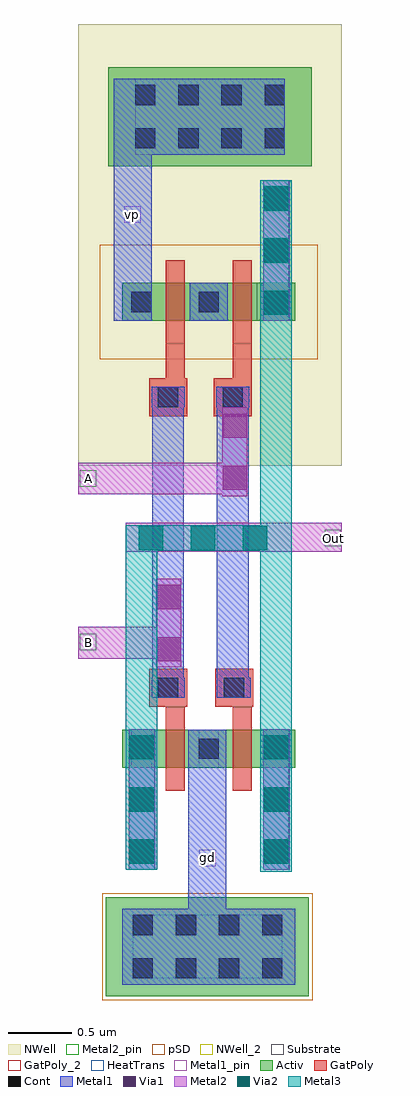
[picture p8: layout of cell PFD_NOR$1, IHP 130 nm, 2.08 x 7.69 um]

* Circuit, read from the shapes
.subckt PFD_NOR$1 A B Out gd vp
XM1 gd B Out gd sg13_lv_nmos w=0.3u l=0.15u
XM2 Out A gd gd sg13_lv_nmos w=0.3u l=0.15u
XM3 n1 B vp vp sg13_lv_pmos w=0.3u l=0.15u
XM4 Out A n1 vp sg13_lv_pmos w=0.3u l=0.15u
.ends

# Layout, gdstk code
import gdstk
lib = gdstk.Library(unit=1e-6, precision=1e-09)
def R(c, l, rs):  # rectangles x0, y0, x1, y1
    for r in rs: c.add(gdstk.rectangle(r[:2], r[2:], *l))
def A(c, l, x, y, w, h, nx, ny, dx, dy):  # array of equal rectangles
    R(c, l, [(x+i*dx, y+j*dy, x+i*dx+w, y+j*dy+h) for i in range(nx) for j in range(ny)])
Activ = (1, 0)
GatPoly = (5, 0)
GatPoly_2 = (5, 2)
Cont = (6, 0)
Metal1 = (8, 0)
Metal1_pin = (8, 2)
Metal2 = (10, 0)
Metal2_pin = (10, 2)
pSD = (14, 0)
Via1 = (19, 0)
Via2 = (29, 0)
Metal3 = (30, 0)
NWell = (31, 0)
NWell_2 = (31, 2)
Substrate = (40, 0)
HeatTrans = (51, 0)

pmos_1 = lib.new_cell('pmos$1')
R(pmos_1, Activ, [(0,0,0.3,0.3), (0,0,0.83,0.3), (0.53,0,0.83,0.3)])
R(pmos_1, GatPoly, [(0.34,-0.18,0.49,0.48), (0.34,-0.18,0.49,0.48)])
R(pmos_1, Cont, [(0.07,0.07,0.23,0.23), (0.6,0.07,0.76,0.23)])
R(pmos_1, Metal1, [(0.07,0,0.23,0.3), (0.07,0,0.23,0.3), (0.6,0,0.76,0.3), (0.6,0,0.76,0.3)])
R(pmos_1, pSD, [(-0.18,-0.3,1.01,0.6)])
R(pmos_1, NWell, [(-0.31,-0.31,1.14,0.61)])
R(pmos_1, Substrate, [(0.53,0,0.83,0.3)])
R(pmos_1, HeatTrans, [(0.34,-0.18,0.49,0.48)])
pmos_1.add(gdstk.Label('pmos', (0.415,0.15), layer=63, texttype=0))
pmos_1.add(gdstk.Label('pmos', (0.415,0.15), layer=51, texttype=0))

ntap1_1 = lib.new_cell('ntap1$1')
R(ntap1_1, Activ, [(0,0,1.6,0.78)])
A(ntap1_1, Cont, 0.21, 0.14, 0.16, 0.16, 4, 2, 0.34, 0.34)
R(ntap1_1, Metal1, [(0.21,0.09,1.39,0.69)])
R(ntap1_1, Metal1_pin, [(0.21,0.09,1.39,0.69), (0.21,0.14,1.39,0.64)])
R(ntap1_1, NWell, [(-0.24,-0.24,1.84,1.02), (0,0,1.6,0.78)])
R(ntap1_1, NWell_2, [(0,0,1.6,0.78)])
ntap1_1.add(gdstk.Label('well', (0.8,0.01), layer=63, texttype=0))
ntap1_1.add(gdstk.Label('well', (0.8,0.01), layer=31, texttype=0))

via_5_1 = lib.new_cell('Via$5$1')
R(via_5_1, GatPoly, [(-0.15,-0.15,0.15,0.15)])
R(via_5_1, Cont, [(-0.08,-0.08,0.08,0.08)])
R(via_5_1, Metal1, [(-0.13,-0.08,0.13,0.08)])

via_6_1 = lib.new_cell('Via$6$1')
R(via_6_1, Metal1, [(-0.105,-0.35,0.105,0.35)])
R(via_6_1, Metal2, [(-0.1,-0.35,0.1,0.35)])
R(via_6_1, Via1, [(-0.095,-0.3,0.095,-0.11), (-0.095,0.11,0.095,0.3)])

ptap1_1 = lib.new_cell('ptap1$1')
R(ptap1_1, Activ, [(0,0,1.6,0.78)])
A(ptap1_1, Cont, 0.21, 0.14, 0.16, 0.16, 4, 2, 0.34, 0.34)
R(ptap1_1, Metal1, [(0.21,0.09,1.39,0.69), (0.21,0.14,1.39,0.64)])
R(ptap1_1, Metal1_pin, [(0.21,0.14,1.39,0.64)])
R(ptap1_1, pSD, [(-0.03,-0.03,1.63,0.81)])
R(ptap1_1, Substrate, [(0,0,1.6,0.78)])
ptap1_1.add(gdstk.Label('sub!', (0.8,0.01), layer=63, texttype=0))
ptap1_1.add(gdstk.Label('sub!', (0.8,0.01), layer=40, texttype=0))

nmos_1 = lib.new_cell('nmos$1')
R(nmos_1, Activ, [(0,0,0.3,0.3), (0,0,0.83,0.3), (0.53,0,0.83,0.3)])
R(nmos_1, GatPoly, [(0.34,-0.18,0.49,0.48)])
R(nmos_1, GatPoly_2, [(0.34,-0.18,0.49,0.48)])
R(nmos_1, Cont, [(0.07,0.07,0.23,0.23), (0.6,0.07,0.76,0.23)])
R(nmos_1, Metal1, [(0.07,0,0.23,0.3), (0.6,0,0.76,0.3)])
R(nmos_1, Metal1_pin, [(0.07,0,0.23,0.3), (0.6,0,0.76,0.3)])
R(nmos_1, HeatTrans, [(0.34,-0.18,0.49,0.48)])
nmos_1.add(gdstk.Label('nmos', (0.415,0.15), layer=63, texttype=0))
nmos_1.add(gdstk.Label('nmos', (0.415,0.15), layer=51, texttype=0))

via_2 = lib.new_cell('Via$2')
R(via_2, Metal2, [(-0.1,-0.555,0.1,0.555)])
A(via_2, Via2, -0.095, -0.505, 0.19, 0.19, 1, 3, 0, 0.41)
R(via_2, Metal3, [(-0.1,-0.555,0.1,0.555)])

via_1_1 = lib.new_cell('Via$1$1')
R(via_1_1, Metal1, [(-0.105,-0.555,0.105,0.555)])
R(via_1_1, Metal2, [(-0.1,-0.555,0.1,0.555)])
A(via_1_1, Via1, -0.095, -0.505, 0.19, 0.19, 1, 3, 0, 0.41)

via_7_1 = lib.new_cell('Via$7$1')
R(via_7_1, Metal2, [(-0.555,-0.1,0.555,0.1)])
A(via_7_1, Via2, -0.505, -0.095, 0.19, 0.19, 3, 1, 0.41, 0)
R(via_7_1, Metal3, [(-0.555,-0.1,0.555,0.1)])

pfd_nor_1 = lib.new_cell('PFD_NOR$1')
R(pfd_nor_1, GatPoly, [(0.53,0.13,0.68,0.41), (0,0.14,0.15,0.41)])
R(pfd_nor_1, Metal1, [(-0.34,-4.64,1.02,-4.04), (0.19,0.59,0.49,0.89)])
R(pfd_nor_1, Metal1_pin, [(0.265,-3.705,0.395,-3.575), (-0.325,1.365,-0.195,1.495)])
R(pfd_nor_1, Metal2, [(-0.315,-1.23,1.39,-1)])
R(pfd_nor_1, Metal2_pin, [(-0.675,-2.005,-0.545,-1.875), (1.255,-1.185,1.385,-1.055), (-0.675,-0.715,-0.545,-0.585)])
R(pfd_nor_1, Metal3, [(-0.315,-1.06,-0.26,-1.02)])
R(pfd_nor_1, NWell, [(-0.69,-0.55,1.39,2.93)])
pfd_nor_1.add(gdstk.FlexPath([(0.64,-0.65),(-0.69,-0.65)], 0.25, ends="flush", simple_path=True, layer=10, datatype=0))  # Metal2
pfd_nor_1.add(gdstk.FlexPath([(0.125,-1.945),(-0.69,-1.945)], 0.25, ends="flush", simple_path=True, layer=10, datatype=0))  # Metal2
pfd_nor_1.add(gdstk.FlexPath([(-0.19,-3.735),(-0.19,-1.06)], 0.25, ends="flush", simple_path=True, layer=30, datatype=0))  # Metal3
pfd_nor_1.add(gdstk.FlexPath([(0.87,1.7),(0.87,-3.75)], 0.25, ends="flush", simple_path=True, layer=30, datatype=0))  # Metal3
pfd_nor_1.add(gdstk.FlexPath([(-0.26,0.59),(-0.26,2.5)], 0.3, ends="flush", simple_path=True, layer=8, datatype=0))  # Metal1
pfd_nor_1.add(gdstk.FlexPath([(0.02,0.07),(0.02,-2.38)], 0.25, ends="flush", simple_path=True, layer=8, datatype=0))  # Metal1
pfd_nor_1.add(gdstk.FlexPath([(0.53,0.07),(0.53,-2.38)], 0.25, ends="flush", simple_path=True, layer=8, datatype=0))  # Metal1
pfd_nor_1.add(gdstk.FlexPath([(0.33,-2.63),(0.33,-4.04)], 0.3, ends="flush", simple_path=True, layer=8, datatype=0))  # Metal1
pfd_nor_1.add(gdstk.Reference(pmos_1, (-0.34,0.59)))
pfd_nor_1.add(gdstk.Reference(pmos_1, (0.19,0.59)))
pfd_nor_1.add(gdstk.Reference(ntap1_1, (-0.45,1.81)))
pfd_nor_1.add(gdstk.Reference(via_5_1, (0.02,-0.01)))
pfd_nor_1.add(gdstk.Reference(via_5_1, (0.53,-0.01)))
pfd_nor_1.add(gdstk.Reference(via_5_1, (0.02,-2.3)))
pfd_nor_1.add(gdstk.Reference(via_5_1, (0.54,-2.3)))
pfd_nor_1.add(gdstk.Reference(via_6_1, (0.025,-1.79)))
pfd_nor_1.add(gdstk.Reference(via_6_1, (0.545,-0.44)))
pfd_nor_1.add(gdstk.Reference(ptap1_1, (-0.47,-4.73)))
pfd_nor_1.add(gdstk.Reference(nmos_1, (-0.34,-2.93)))
pfd_nor_1.add(gdstk.Reference(nmos_1, (0.19,-2.93)))
pfd_nor_1.add(gdstk.Reference(via_2, (0.87,1.145)))
pfd_nor_1.add(gdstk.Reference(via_1_1, (0.875,1.145)))
pfd_nor_1.add(gdstk.Reference(via_2, (0.87,-3.18)))
pfd_nor_1.add(gdstk.Reference(via_1_1, (0.875,-3.18)))
pfd_nor_1.add(gdstk.Reference(via_2, (-0.19,-3.18)))
pfd_nor_1.add(gdstk.Reference(via_1_1, (-0.185,-3.18)))
pfd_nor_1.add(gdstk.Reference(via_7_1, (0.295,-1.12)))
pfd_nor_1.add(gdstk.Label('Out', (1.32,-1.12), layer=10, texttype=25))
pfd_nor_1.add(gdstk.Label('A', (-0.61,-0.65), layer=10, texttype=25))
pfd_nor_1.add(gdstk.Label('B', (-0.61,-1.94), layer=10, texttype=25))
pfd_nor_1.add(gdstk.Label('gd', (0.33,-3.64), layer=8, texttype=25))
pfd_nor_1.add(gdstk.Label('vp', (-0.26,1.43), layer=8, texttype=25))

lib.write_gds('PFD_NOR_1.gds')
